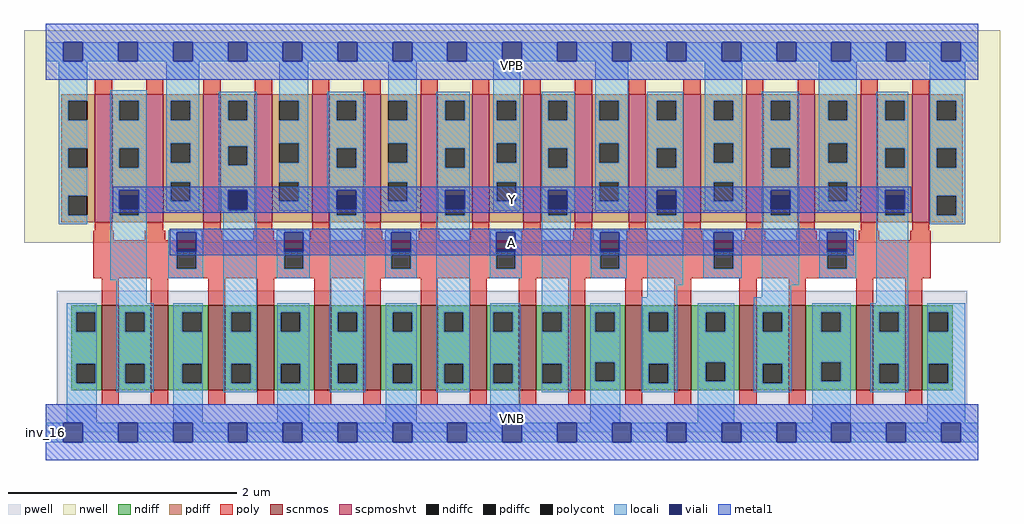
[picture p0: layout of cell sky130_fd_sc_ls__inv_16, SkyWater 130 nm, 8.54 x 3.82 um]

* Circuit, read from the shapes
.subckt sky130_fd_sc_ls__inv_16 A VGND VNB VPB VPWR Y
XM1 Y A VGND VNB sky130_fd_pr__nfet_01v8 w=0.74 l=0.15 m=16
XM2 Y A VPWR VPB sky130_fd_pr__pfet_01v8_hvt w=1.12 l=0.15 m=16
.ends

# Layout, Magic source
magic
tech sky130A
magscale 1 2
<< nwell >>
rect -38 332 1670 704
<< pwell >>
rect 19 49 1613 248
rect 0 0 1632 49
<< scnmos >>
rect 98 74 128 222
rect 184 74 214 222
rect 284 74 314 222
rect 370 74 400 222
rect 470 74 500 222
rect 556 74 586 222
rect 656 74 686 222
rect 742 74 772 222
rect 828 74 858 222
rect 914 74 944 222
rect 1014 74 1044 222
rect 1100 74 1130 222
rect 1214 74 1244 222
rect 1300 74 1330 222
rect 1418 74 1448 222
rect 1504 74 1534 222
<< scpmoshvt >>
rect 86 368 116 592
rect 176 368 206 592
rect 276 368 306 592
rect 366 368 396 592
rect 466 368 496 592
rect 556 368 586 592
rect 656 368 686 592
rect 746 368 776 592
rect 836 368 866 592
rect 926 368 956 592
rect 1020 368 1050 592
rect 1116 368 1146 592
rect 1226 368 1256 592
rect 1316 368 1346 592
rect 1426 368 1456 592
rect 1516 368 1546 592
<< ndiff >>
rect 45 210 98 222
rect 45 176 53 210
rect 87 176 98 210
rect 45 120 98 176
rect 45 86 53 120
rect 87 86 98 120
rect 45 74 98 86
rect 128 210 184 222
rect 128 176 139 210
rect 173 176 184 210
rect 128 120 184 176
rect 128 86 139 120
rect 173 86 184 120
rect 128 74 184 86
rect 214 210 284 222
rect 214 176 239 210
rect 273 176 284 210
rect 214 120 284 176
rect 214 86 239 120
rect 273 86 284 120
rect 214 74 284 86
rect 314 210 370 222
rect 314 176 325 210
rect 359 176 370 210
rect 314 120 370 176
rect 314 86 325 120
rect 359 86 370 120
rect 314 74 370 86
rect 400 210 470 222
rect 400 176 411 210
rect 445 176 470 210
rect 400 120 470 176
rect 400 86 411 120
rect 445 86 470 120
rect 400 74 470 86
rect 500 210 556 222
rect 500 176 511 210
rect 545 176 556 210
rect 500 120 556 176
rect 500 86 511 120
rect 545 86 556 120
rect 500 74 556 86
rect 586 210 656 222
rect 586 176 607 210
rect 641 176 656 210
rect 586 120 656 176
rect 586 86 607 120
rect 641 86 656 120
rect 586 74 656 86
rect 686 210 742 222
rect 686 176 697 210
rect 731 176 742 210
rect 686 120 742 176
rect 686 86 697 120
rect 731 86 742 120
rect 686 74 742 86
rect 772 210 828 222
rect 772 176 783 210
rect 817 176 828 210
rect 772 120 828 176
rect 772 86 783 120
rect 817 86 828 120
rect 772 74 828 86
rect 858 210 914 222
rect 858 176 869 210
rect 903 176 914 210
rect 858 120 914 176
rect 858 86 869 120
rect 903 86 914 120
rect 858 74 914 86
rect 944 210 1014 222
rect 944 176 962 210
rect 996 176 1014 210
rect 944 123 1014 176
rect 944 89 962 123
rect 996 89 1014 123
rect 944 74 1014 89
rect 1044 210 1100 222
rect 1044 176 1055 210
rect 1089 176 1100 210
rect 1044 120 1100 176
rect 1044 86 1055 120
rect 1089 86 1100 120
rect 1044 74 1100 86
rect 1130 210 1214 222
rect 1130 176 1155 210
rect 1189 176 1214 210
rect 1130 123 1214 176
rect 1130 89 1155 123
rect 1189 89 1214 123
rect 1130 74 1214 89
rect 1244 210 1300 222
rect 1244 176 1255 210
rect 1289 176 1300 210
rect 1244 120 1300 176
rect 1244 86 1255 120
rect 1289 86 1300 120
rect 1244 74 1300 86
rect 1330 210 1418 222
rect 1330 176 1357 210
rect 1391 176 1418 210
rect 1330 123 1418 176
rect 1330 89 1357 123
rect 1391 89 1418 123
rect 1330 74 1418 89
rect 1448 210 1504 222
rect 1448 176 1459 210
rect 1493 176 1504 210
rect 1448 120 1504 176
rect 1448 86 1459 120
rect 1493 86 1504 120
rect 1448 74 1504 86
rect 1534 210 1587 222
rect 1534 176 1545 210
rect 1579 176 1587 210
rect 1534 120 1587 176
rect 1534 86 1545 120
rect 1579 86 1587 120
rect 1534 74 1587 86
<< pdiff >>
rect 27 580 86 592
rect 27 546 39 580
rect 73 546 86 580
rect 27 497 86 546
rect 27 463 39 497
rect 73 463 86 497
rect 27 414 86 463
rect 27 380 39 414
rect 73 380 86 414
rect 27 368 86 380
rect 116 580 176 592
rect 116 546 129 580
rect 163 546 176 580
rect 116 497 176 546
rect 116 463 129 497
rect 163 463 176 497
rect 116 414 176 463
rect 116 380 129 414
rect 163 380 176 414
rect 116 368 176 380
rect 206 580 276 592
rect 206 546 219 580
rect 253 546 276 580
rect 206 506 276 546
rect 206 472 219 506
rect 253 472 276 506
rect 206 438 276 472
rect 206 404 219 438
rect 253 404 276 438
rect 206 368 276 404
rect 306 580 366 592
rect 306 546 319 580
rect 353 546 366 580
rect 306 501 366 546
rect 306 467 319 501
rect 353 467 366 501
rect 306 422 366 467
rect 306 388 319 422
rect 353 388 366 422
rect 306 368 366 388
rect 396 580 466 592
rect 396 546 409 580
rect 443 546 466 580
rect 396 506 466 546
rect 396 472 409 506
rect 443 472 466 506
rect 396 438 466 472
rect 396 404 409 438
rect 443 404 466 438
rect 396 368 466 404
rect 496 580 556 592
rect 496 546 509 580
rect 543 546 556 580
rect 496 497 556 546
rect 496 463 509 497
rect 543 463 556 497
rect 496 414 556 463
rect 496 380 509 414
rect 543 380 556 414
rect 496 368 556 380
rect 586 580 656 592
rect 586 546 599 580
rect 633 546 656 580
rect 586 506 656 546
rect 586 472 599 506
rect 633 472 656 506
rect 586 438 656 472
rect 586 404 599 438
rect 633 404 656 438
rect 586 368 656 404
rect 686 580 746 592
rect 686 546 699 580
rect 733 546 746 580
rect 686 497 746 546
rect 686 463 699 497
rect 733 463 746 497
rect 686 414 746 463
rect 686 380 699 414
rect 733 380 746 414
rect 686 368 746 380
rect 776 580 836 592
rect 776 546 789 580
rect 823 546 836 580
rect 776 506 836 546
rect 776 472 789 506
rect 823 472 836 506
rect 776 438 836 472
rect 776 404 789 438
rect 823 404 836 438
rect 776 368 836 404
rect 866 580 926 592
rect 866 546 879 580
rect 913 546 926 580
rect 866 497 926 546
rect 866 463 879 497
rect 913 463 926 497
rect 866 414 926 463
rect 866 380 879 414
rect 913 380 926 414
rect 866 368 926 380
rect 956 580 1020 592
rect 956 546 969 580
rect 1003 546 1020 580
rect 956 506 1020 546
rect 956 472 969 506
rect 1003 472 1020 506
rect 956 438 1020 472
rect 956 404 969 438
rect 1003 404 1020 438
rect 956 368 1020 404
rect 1050 580 1116 592
rect 1050 546 1069 580
rect 1103 546 1116 580
rect 1050 497 1116 546
rect 1050 463 1069 497
rect 1103 463 1116 497
rect 1050 414 1116 463
rect 1050 380 1069 414
rect 1103 380 1116 414
rect 1050 368 1116 380
rect 1146 580 1226 592
rect 1146 546 1169 580
rect 1203 546 1226 580
rect 1146 506 1226 546
rect 1146 472 1169 506
rect 1203 472 1226 506
rect 1146 438 1226 472
rect 1146 404 1169 438
rect 1203 404 1226 438
rect 1146 368 1226 404
rect 1256 580 1316 592
rect 1256 546 1269 580
rect 1303 546 1316 580
rect 1256 497 1316 546
rect 1256 463 1269 497
rect 1303 463 1316 497
rect 1256 414 1316 463
rect 1256 380 1269 414
rect 1303 380 1316 414
rect 1256 368 1316 380
rect 1346 580 1426 592
rect 1346 546 1369 580
rect 1403 546 1426 580
rect 1346 506 1426 546
rect 1346 472 1369 506
rect 1403 472 1426 506
rect 1346 438 1426 472
rect 1346 404 1369 438
rect 1403 404 1426 438
rect 1346 368 1426 404
rect 1456 580 1516 592
rect 1456 546 1469 580
rect 1503 546 1516 580
rect 1456 497 1516 546
rect 1456 463 1469 497
rect 1503 463 1516 497
rect 1456 414 1516 463
rect 1456 380 1469 414
rect 1503 380 1516 414
rect 1456 368 1516 380
rect 1546 580 1605 592
rect 1546 546 1559 580
rect 1593 546 1605 580
rect 1546 497 1605 546
rect 1546 463 1559 497
rect 1593 463 1605 497
rect 1546 414 1605 463
rect 1546 380 1559 414
rect 1593 380 1605 414
rect 1546 368 1605 380
<< ndiffc >>
rect 53 176 87 210
rect 53 86 87 120
rect 139 176 173 210
rect 139 86 173 120
rect 239 176 273 210
rect 239 86 273 120
rect 325 176 359 210
rect 325 86 359 120
rect 411 176 445 210
rect 411 86 445 120
rect 511 176 545 210
rect 511 86 545 120
rect 607 176 641 210
rect 607 86 641 120
rect 697 176 731 210
rect 697 86 731 120
rect 783 176 817 210
rect 783 86 817 120
rect 869 176 903 210
rect 869 86 903 120
rect 962 176 996 210
rect 962 89 996 123
rect 1055 176 1089 210
rect 1055 86 1089 120
rect 1155 176 1189 210
rect 1155 89 1189 123
rect 1255 176 1289 210
rect 1255 86 1289 120
rect 1357 176 1391 210
rect 1357 89 1391 123
rect 1459 176 1493 210
rect 1459 86 1493 120
rect 1545 176 1579 210
rect 1545 86 1579 120
<< pdiffc >>
rect 39 546 73 580
rect 39 463 73 497
rect 39 380 73 414
rect 129 546 163 580
rect 129 463 163 497
rect 129 380 163 414
rect 219 546 253 580
rect 219 472 253 506
rect 219 404 253 438
rect 319 546 353 580
rect 319 467 353 501
rect 319 388 353 422
rect 409 546 443 580
rect 409 472 443 506
rect 409 404 443 438
rect 509 546 543 580
rect 509 463 543 497
rect 509 380 543 414
rect 599 546 633 580
rect 599 472 633 506
rect 599 404 633 438
rect 699 546 733 580
rect 699 463 733 497
rect 699 380 733 414
rect 789 546 823 580
rect 789 472 823 506
rect 789 404 823 438
rect 879 546 913 580
rect 879 463 913 497
rect 879 380 913 414
rect 969 546 1003 580
rect 969 472 1003 506
rect 969 404 1003 438
rect 1069 546 1103 580
rect 1069 463 1103 497
rect 1069 380 1103 414
rect 1169 546 1203 580
rect 1169 472 1203 506
rect 1169 404 1203 438
rect 1269 546 1303 580
rect 1269 463 1303 497
rect 1269 380 1303 414
rect 1369 546 1403 580
rect 1369 472 1403 506
rect 1369 404 1403 438
rect 1469 546 1503 580
rect 1469 463 1503 497
rect 1469 380 1503 414
rect 1559 546 1593 580
rect 1559 463 1593 497
rect 1559 380 1593 414
<< poly >>
rect 86 592 116 618
rect 176 592 206 618
rect 276 592 306 618
rect 366 592 396 618
rect 466 592 496 618
rect 556 592 586 618
rect 656 592 686 618
rect 746 592 776 618
rect 836 592 866 618
rect 926 592 956 618
rect 1020 592 1050 618
rect 1116 592 1146 618
rect 1226 592 1256 618
rect 1316 592 1346 618
rect 1426 592 1456 618
rect 1516 592 1546 618
rect 86 353 116 368
rect 176 353 206 368
rect 276 353 306 368
rect 366 353 396 368
rect 466 353 496 368
rect 556 353 586 368
rect 656 353 686 368
rect 746 353 776 368
rect 836 353 866 368
rect 926 353 956 368
rect 1020 353 1050 368
rect 1116 353 1146 368
rect 1226 353 1256 368
rect 1316 353 1346 368
rect 1426 353 1456 368
rect 1516 353 1546 368
rect 83 336 119 353
rect 173 336 209 353
rect 273 336 309 353
rect 363 336 399 353
rect 463 336 499 353
rect 553 336 589 353
rect 653 336 689 353
rect 743 336 779 353
rect 833 336 869 353
rect 923 336 959 353
rect 1017 336 1053 353
rect 1113 336 1149 353
rect 1223 336 1259 353
rect 1313 336 1349 353
rect 1423 336 1459 353
rect 1513 336 1549 353
rect 83 320 1549 336
rect 83 286 229 320
rect 263 286 417 320
rect 451 286 605 320
rect 639 286 788 320
rect 822 286 970 320
rect 1004 286 1169 320
rect 1203 286 1368 320
rect 1402 286 1549 320
rect 83 270 1549 286
rect 98 222 128 270
rect 184 222 214 270
rect 284 222 314 270
rect 370 222 400 270
rect 470 222 500 270
rect 556 222 586 270
rect 656 222 686 270
rect 742 222 772 270
rect 828 222 858 270
rect 914 222 944 270
rect 1014 222 1044 270
rect 1100 222 1130 270
rect 1214 222 1244 270
rect 1300 222 1330 270
rect 1418 222 1448 270
rect 1504 222 1534 270
rect 98 48 128 74
rect 184 48 214 74
rect 284 48 314 74
rect 370 48 400 74
rect 470 48 500 74
rect 556 48 586 74
rect 656 48 686 74
rect 742 48 772 74
rect 828 48 858 74
rect 914 48 944 74
rect 1014 48 1044 74
rect 1100 48 1130 74
rect 1214 48 1244 74
rect 1300 48 1330 74
rect 1418 48 1448 74
rect 1504 48 1534 74
<< polycont >>
rect 229 286 263 320
rect 417 286 451 320
rect 605 286 639 320
rect 788 286 822 320
rect 970 286 1004 320
rect 1169 286 1203 320
rect 1368 286 1402 320
<< locali >>
rect 0 649 31 683
rect 65 649 127 683
rect 161 649 223 683
rect 257 649 319 683
rect 353 649 415 683
rect 449 649 511 683
rect 545 649 607 683
rect 641 649 703 683
rect 737 649 799 683
rect 833 649 895 683
rect 929 649 991 683
rect 1025 649 1087 683
rect 1121 649 1183 683
rect 1217 649 1279 683
rect 1313 649 1375 683
rect 1409 649 1471 683
rect 1505 649 1567 683
rect 1601 649 1632 683
rect 23 580 73 649
rect 23 546 39 580
rect 23 497 73 546
rect 23 463 39 497
rect 23 414 73 463
rect 23 380 39 414
rect 23 364 73 380
rect 113 580 177 599
rect 113 546 129 580
rect 163 546 177 580
rect 113 497 177 546
rect 113 463 129 497
rect 163 463 177 497
rect 113 424 177 463
rect 113 380 129 424
rect 163 380 177 424
rect 211 580 269 649
rect 211 546 219 580
rect 253 546 269 580
rect 211 506 269 546
rect 211 472 219 506
rect 253 472 269 506
rect 211 438 269 472
rect 211 404 219 438
rect 253 404 269 438
rect 211 388 269 404
rect 303 580 369 596
rect 303 546 319 580
rect 353 546 369 580
rect 303 501 369 546
rect 303 467 319 501
rect 353 467 369 501
rect 303 424 369 467
rect 303 388 319 424
rect 353 388 369 424
rect 409 580 459 649
rect 443 546 459 580
rect 409 506 459 546
rect 443 472 459 506
rect 409 438 459 472
rect 443 404 459 438
rect 409 388 459 404
rect 493 580 559 596
rect 493 546 509 580
rect 543 546 559 580
rect 493 497 559 546
rect 493 463 509 497
rect 543 463 559 497
rect 493 424 559 463
rect 493 388 509 424
rect 113 266 177 380
rect 214 350 276 354
rect 214 286 229 350
rect 263 286 276 350
rect 214 270 276 286
rect 123 226 177 266
rect 37 210 89 226
rect 37 176 53 210
rect 87 176 89 210
rect 37 120 89 176
rect 37 86 53 120
rect 87 86 89 120
rect 37 17 89 86
rect 123 210 189 226
rect 123 176 139 210
rect 173 176 189 210
rect 123 120 189 176
rect 123 86 139 120
rect 173 86 189 120
rect 123 70 189 86
rect 223 210 275 226
rect 223 176 239 210
rect 273 176 275 210
rect 223 120 275 176
rect 223 86 239 120
rect 273 86 275 120
rect 223 17 275 86
rect 311 210 369 388
rect 497 380 509 388
rect 543 380 559 424
rect 599 580 649 649
rect 633 546 649 580
rect 599 506 649 546
rect 633 472 649 506
rect 599 438 649 472
rect 633 404 649 438
rect 599 388 649 404
rect 683 580 742 596
rect 683 546 699 580
rect 733 546 742 580
rect 683 497 742 546
rect 683 463 699 497
rect 733 463 742 497
rect 683 424 742 463
rect 404 350 462 354
rect 404 286 417 350
rect 451 286 462 350
rect 404 270 462 286
rect 311 176 325 210
rect 359 176 369 210
rect 311 120 369 176
rect 311 86 325 120
rect 359 86 369 120
rect 311 70 369 86
rect 405 210 461 226
rect 405 176 411 210
rect 445 176 461 210
rect 405 120 461 176
rect 405 86 411 120
rect 445 86 461 120
rect 405 17 461 86
rect 497 210 559 380
rect 683 380 699 424
rect 733 380 742 424
rect 783 580 830 649
rect 783 546 789 580
rect 823 546 830 580
rect 783 506 830 546
rect 783 472 789 506
rect 823 472 830 506
rect 783 438 830 472
rect 783 404 789 438
rect 823 404 830 438
rect 783 388 830 404
rect 868 580 926 596
rect 868 546 879 580
rect 913 546 926 580
rect 868 497 926 546
rect 868 463 879 497
rect 913 463 926 497
rect 868 424 926 463
rect 594 350 649 354
rect 594 286 605 350
rect 639 286 649 350
rect 594 270 649 286
rect 497 176 511 210
rect 545 176 559 210
rect 497 120 559 176
rect 497 86 511 120
rect 545 86 559 120
rect 497 70 559 86
rect 595 210 649 226
rect 595 176 607 210
rect 641 176 649 210
rect 595 120 649 176
rect 595 86 607 120
rect 641 86 649 120
rect 595 17 649 86
rect 683 210 742 380
rect 868 380 879 424
rect 913 388 926 424
rect 962 580 1019 649
rect 962 546 969 580
rect 1003 546 1019 580
rect 962 506 1019 546
rect 962 472 969 506
rect 1003 472 1019 506
rect 962 438 1019 472
rect 962 404 969 438
rect 1003 404 1019 438
rect 962 388 1019 404
rect 1053 580 1116 596
rect 1053 546 1069 580
rect 1103 546 1116 580
rect 1053 497 1116 546
rect 1053 463 1069 497
rect 1103 463 1116 497
rect 1053 424 1116 463
rect 913 380 919 388
rect 777 350 833 354
rect 777 286 788 350
rect 822 286 833 350
rect 777 270 833 286
rect 683 176 697 210
rect 731 176 742 210
rect 683 120 742 176
rect 683 86 697 120
rect 731 86 742 120
rect 683 70 742 86
rect 778 210 830 226
rect 778 176 783 210
rect 817 176 830 210
rect 778 120 830 176
rect 778 86 783 120
rect 817 86 830 120
rect 778 17 830 86
rect 868 210 919 380
rect 1053 380 1069 424
rect 1103 380 1116 424
rect 1153 580 1219 649
rect 1153 546 1169 580
rect 1203 546 1219 580
rect 1153 506 1219 546
rect 1153 472 1169 506
rect 1203 472 1219 506
rect 1153 438 1219 472
rect 1153 404 1169 438
rect 1203 404 1219 438
rect 1153 388 1219 404
rect 1253 580 1319 596
rect 1253 546 1269 580
rect 1303 546 1319 580
rect 1253 497 1319 546
rect 1253 463 1269 497
rect 1303 463 1319 497
rect 1253 424 1319 463
rect 954 350 1017 354
rect 954 286 970 350
rect 1004 286 1017 350
rect 954 270 1017 286
rect 1053 257 1116 380
rect 1253 380 1269 424
rect 1303 380 1319 424
rect 1353 580 1419 649
rect 1353 546 1369 580
rect 1403 546 1419 580
rect 1353 506 1419 546
rect 1353 472 1369 506
rect 1403 472 1419 506
rect 1353 438 1419 472
rect 1353 404 1369 438
rect 1403 404 1419 438
rect 1353 388 1419 404
rect 1453 580 1509 596
rect 1453 546 1469 580
rect 1503 546 1509 580
rect 1453 497 1509 546
rect 1453 463 1469 497
rect 1503 463 1509 497
rect 1453 424 1509 463
rect 1151 350 1218 354
rect 1151 286 1169 350
rect 1203 286 1218 350
rect 1151 270 1218 286
rect 1253 257 1319 380
rect 1453 380 1469 424
rect 1503 380 1509 424
rect 1354 350 1418 354
rect 1354 286 1368 350
rect 1402 286 1418 350
rect 1354 270 1418 286
rect 1053 236 1105 257
rect 1253 236 1305 257
rect 868 176 869 210
rect 903 176 919 210
rect 868 120 919 176
rect 868 86 869 120
rect 903 86 919 120
rect 868 70 919 86
rect 953 210 1005 226
rect 953 176 962 210
rect 996 176 1005 210
rect 953 123 1005 176
rect 953 89 962 123
rect 996 89 1005 123
rect 953 17 1005 89
rect 1043 210 1105 236
rect 1043 176 1055 210
rect 1089 176 1105 210
rect 1043 120 1105 176
rect 1043 86 1055 120
rect 1089 86 1105 120
rect 1043 70 1105 86
rect 1141 210 1205 226
rect 1141 176 1155 210
rect 1189 176 1205 210
rect 1141 123 1205 176
rect 1141 89 1155 123
rect 1189 89 1205 123
rect 1141 17 1205 89
rect 1239 210 1305 236
rect 1453 226 1509 380
rect 1547 580 1609 649
rect 1547 546 1559 580
rect 1593 546 1609 580
rect 1547 497 1609 546
rect 1547 463 1559 497
rect 1593 463 1609 497
rect 1547 414 1609 463
rect 1547 380 1559 414
rect 1593 380 1609 414
rect 1547 364 1609 380
rect 1239 176 1255 210
rect 1289 176 1305 210
rect 1239 120 1305 176
rect 1239 86 1255 120
rect 1289 86 1305 120
rect 1239 70 1305 86
rect 1341 210 1409 226
rect 1341 176 1357 210
rect 1391 176 1409 210
rect 1341 123 1409 176
rect 1341 89 1357 123
rect 1391 89 1409 123
rect 1341 17 1409 89
rect 1443 210 1509 226
rect 1443 176 1459 210
rect 1493 176 1509 210
rect 1443 120 1509 176
rect 1443 86 1459 120
rect 1493 86 1509 120
rect 1443 70 1509 86
rect 1543 210 1609 226
rect 1543 176 1545 210
rect 1579 176 1609 210
rect 1543 120 1609 176
rect 1543 86 1545 120
rect 1579 86 1609 120
rect 1543 17 1609 86
rect 0 -17 31 17
rect 65 -17 127 17
rect 161 -17 223 17
rect 257 -17 319 17
rect 353 -17 415 17
rect 449 -17 511 17
rect 545 -17 607 17
rect 641 -17 703 17
rect 737 -17 799 17
rect 833 -17 895 17
rect 929 -17 991 17
rect 1025 -17 1087 17
rect 1121 -17 1183 17
rect 1217 -17 1279 17
rect 1313 -17 1375 17
rect 1409 -17 1471 17
rect 1505 -17 1567 17
rect 1601 -17 1632 17
<< viali >>
rect 31 649 65 683
rect 127 649 161 683
rect 223 649 257 683
rect 319 649 353 683
rect 415 649 449 683
rect 511 649 545 683
rect 607 649 641 683
rect 703 649 737 683
rect 799 649 833 683
rect 895 649 929 683
rect 991 649 1025 683
rect 1087 649 1121 683
rect 1183 649 1217 683
rect 1279 649 1313 683
rect 1375 649 1409 683
rect 1471 649 1505 683
rect 1567 649 1601 683
rect 129 414 163 424
rect 129 390 163 414
rect 319 422 353 424
rect 319 390 353 422
rect 509 414 543 424
rect 509 390 543 414
rect 229 320 263 350
rect 229 316 263 320
rect 417 320 451 350
rect 417 316 451 320
rect 699 414 733 424
rect 699 390 733 414
rect 605 320 639 350
rect 605 316 639 320
rect 879 414 913 424
rect 879 390 913 414
rect 788 320 822 350
rect 788 316 822 320
rect 1069 414 1103 424
rect 1069 390 1103 414
rect 970 320 1004 350
rect 970 316 1004 320
rect 1269 414 1303 424
rect 1269 390 1303 414
rect 1169 320 1203 350
rect 1169 316 1203 320
rect 1469 414 1503 424
rect 1469 390 1503 414
rect 1368 320 1402 350
rect 1368 316 1402 320
rect 31 -17 65 17
rect 127 -17 161 17
rect 223 -17 257 17
rect 319 -17 353 17
rect 415 -17 449 17
rect 511 -17 545 17
rect 607 -17 641 17
rect 703 -17 737 17
rect 799 -17 833 17
rect 895 -17 929 17
rect 991 -17 1025 17
rect 1087 -17 1121 17
rect 1183 -17 1217 17
rect 1279 -17 1313 17
rect 1375 -17 1409 17
rect 1471 -17 1505 17
rect 1567 -17 1601 17
<< metal1 >>
rect 0 683 1632 715
rect 0 649 31 683
rect 65 649 127 683
rect 161 649 223 683
rect 257 649 319 683
rect 353 649 415 683
rect 449 649 511 683
rect 545 649 607 683
rect 641 649 703 683
rect 737 649 799 683
rect 833 649 895 683
rect 929 649 991 683
rect 1025 649 1087 683
rect 1121 649 1183 683
rect 1217 649 1279 683
rect 1313 649 1375 683
rect 1409 649 1471 683
rect 1505 649 1567 683
rect 1601 649 1632 683
rect 0 617 1632 649
rect 117 424 1515 430
rect 117 390 129 424
rect 163 390 319 424
rect 353 390 509 424
rect 543 390 699 424
rect 733 390 879 424
rect 913 390 1069 424
rect 1103 390 1269 424
rect 1303 390 1469 424
rect 1503 390 1515 424
rect 117 384 1515 390
rect 217 350 1414 356
rect 217 316 229 350
rect 263 316 417 350
rect 451 316 605 350
rect 639 316 788 350
rect 822 316 970 350
rect 1004 316 1169 350
rect 1203 316 1368 350
rect 1402 316 1414 350
rect 217 310 1414 316
rect 0 17 1632 49
rect 0 -17 31 17
rect 65 -17 127 17
rect 161 -17 223 17
rect 257 -17 319 17
rect 353 -17 415 17
rect 449 -17 511 17
rect 545 -17 607 17
rect 641 -17 703 17
rect 737 -17 799 17
rect 833 -17 895 17
rect 929 -17 991 17
rect 1025 -17 1087 17
rect 1121 -17 1183 17
rect 1217 -17 1279 17
rect 1313 -17 1375 17
rect 1409 -17 1471 17
rect 1505 -17 1567 17
rect 1601 -17 1632 17
rect 0 -49 1632 -17
<< labels >>
rlabel comment s 0 0 0 0 4 inv_16
flabel pwell s 0 0 1632 49 0 FreeSans 200 0 0 0 VNB
port 3 nsew ground bidirectional
flabel nwell s 0 617 1632 666 0 FreeSans 200 0 0 0 VPB
port 4 nsew power bidirectional
flabel metal1 s 0 617 1632 666 0 FreeSans 340 0 0 0 VPWR
port 5 nsew power bidirectional abutment
flabel metal1 s 0 0 1632 49 0 FreeSans 340 0 0 0 VGND
port 2 nsew ground bidirectional abutment
flabel metal1 s 117 384 1515 430 0 FreeSans 400 0 0 0 Y
port 6 nsew signal output
flabel metal1 s 217 310 1414 356 0 FreeSans 400 0 0 0 A
port 1 nsew signal input
<< properties >>
string LEFsite unit
string LEFclass CORE
string FIXED_BBOX 0 0 1632 666
string GDS_FILE $PDKPATH/libs.ref/sky130_fd_sc_ls/gds/sky130_fd_sc_ls.gds
string LEFsymmetry X Y
string GDS_END 3217048
string GDS_START 3202928
<< end >>
